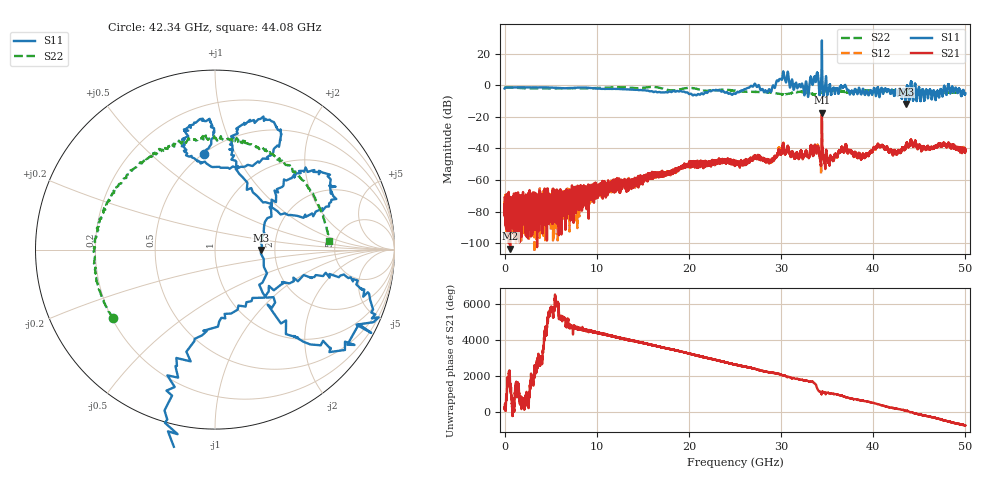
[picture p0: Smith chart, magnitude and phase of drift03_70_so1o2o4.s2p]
!Created with skrf (http://scikit-rf.org).
# Hz S RI R 50.0
!freq ReS11 ImS11 ReS21 ImS21 ReS12 ImS12 ReS22 ImS22
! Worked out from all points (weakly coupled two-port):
!   10000 points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, 5.3 MHz to 50 GHz, reference 50 ohm
!   highest |S21| = -17.37 dB at 34.43 GHz (marker M1); lowest = -103.3 dB at 610.3 MHz (marker M2)
!   lowest |S11| = -11.9 dB at 43.52 GHz (marker M3), VSWR 1.68, Z = 84.2 - j0.336 ohm
!   |S11| at or under -10 dB: 43.4862 GHz to 43.54471 GHz (58.51 MHz wide, 0.134 % of centre); 43.55404 GHz to 43.5552 GHz (1.165 MHz wide, 0.00267 % of centre); 44.70694 GHz to 44.7109 GHz (3.96 MHz wide, 0.00886 % of centre) (the widest 3 of 4)
!   |S22| runs from -5.8 to -1.1 dB; largest |S21 - S12| = 0.029
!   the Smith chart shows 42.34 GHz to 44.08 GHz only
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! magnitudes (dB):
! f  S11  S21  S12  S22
! 5.3 MHz  -2.1  -82.0  -78.1  -1.3
! 610.3 MHz  -1.4  -103.3  -97.3  -1.4
! 6.335 GHz  -1.9  -79.2  -69.5  -1.9
! 8.34 GHz  -1.5  -65.4  -79.1  -2.1
! 16.67 GHz  -4.4  -56.5  -55.4  -1.5
! 20.28 GHz  -5.5  -49.4  -48.2  -1.7
! 25.01 GHz  -5.5  -48.7  -48.8  -3.5
! 27.02 GHz  -0.3  -45.5  -45.4  -4.2
! 28.72 GHz  -2.5  -49.6  -47.8  -4.5
! 30.14 GHz  4.4  -40.0  -40.6  -5.7
! 32.74 GHz  2.1  -42.2  -42.6  -4.6
! 33.34 GHz  2.6  -40.1  -40.0  -5.5
! 33.82 GHz  4.0  -41.6  -42.1  -5.6
! 34.43 GHz  28.3  -17.4  -18.8  -4.6
! 35.3 GHz  0.5  -47.8  -46.6  -3.3
! 36.84 GHz  -0.8  -41.5  -41.1  -4.1
! 38.85 GHz  -2.7  -44.1  -44.0  -3.2
! 40.6 GHz  -4.4  -38.3  -38.2  -4.0
! 41.67 GHz  -2.8  -42.1  -42.1  -3.3
! 43.52 GHz  -11.9  -38.6  -38.6  -4.1
! 47.55 GHz  -6.6  -37.0  -37.0  -4.7
! 50 GHz  -5.2  -41.3  -42.2  -4.5
